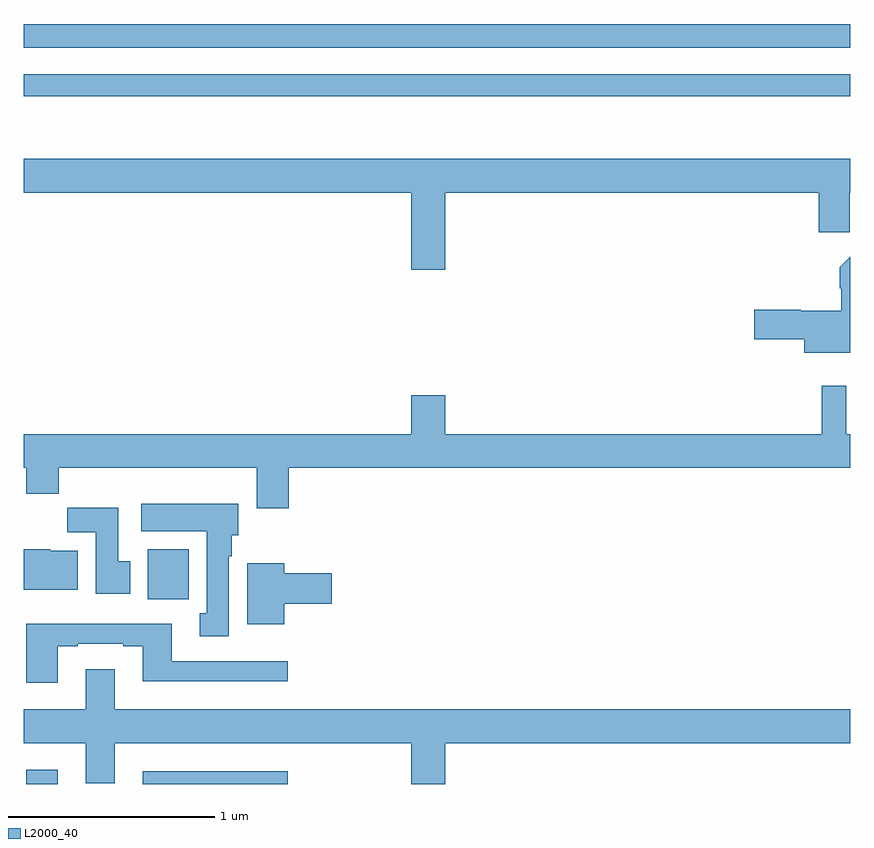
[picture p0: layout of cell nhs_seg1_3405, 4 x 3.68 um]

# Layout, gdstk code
import gdstk
lib = gdstk.Library(unit=1e-6, precision=1e-09)
def R(c, l, rs):  # rectangles x0, y0, x1, y1
    for r in rs: c.add(gdstk.rectangle(r[:2], r[2:], *l))
def P(c, l, *ps):  # polygons
    for p in ps: c.add(gdstk.Polygon(p, *l))
L2000_40 = (2000, 40)

nhs_seg1_3405 = lib.new_cell('nhs_seg1_3405')
R(nhs_seg1_3405, L2000_40, [(295.013,554.199,295.165,554.269), (295.577,554.199,296.278,554.26), (295.601,555.092,295.798,555.334), (295,557.526,299,557.634), (295,557.76,299,557.876)])
P(nhs_seg1_3405, L2000_40, [(297.04,557.06),(298.847,557.06),(298.847,556.869),(298.997,556.869),(298.997,557.06),(299,557.06),(299,557.224),(295,557.224),(295,557.06),(296.876,557.06),(296.876,556.686),(297.04,556.686)],
  [(299,556.75),(298.949,556.699),(298.949,556.598),(298.955,556.598),(298.955,556.488),(298.761,556.488),(298.761,556.493),(298.536,556.493),(298.536,556.351),(298.778,556.351),(298.778,556.286),(299,556.286)],
  [(296.282,555.728),(299,555.728),(299,555.892),(298.979,555.892),(298.979,556.126),(298.861,556.126),(298.861,555.892),(297.04,555.892),(297.04,556.081),(296.876,556.081),(296.876,555.892),(295,555.892),(295,555.728),(295.013,555.728),(295.013,555.604),(295.169,555.604),(295.169,555.728),(296.129,555.728),(296.129,555.534),(296.282,555.534)],
  [(295.993,555.302),(296.008,555.302),(296.008,555.402),(296.038,555.402),(296.038,555.556),(295.569,555.556),(295.569,555.422),(295.886,555.422),(295.886,555.026),(295.853,555.026),(295.853,554.913),(295.993,554.913)],
  [(295.516,555.276),(295.459,555.276),(295.459,555.535),(295.21,555.535),(295.21,555.416),(295.349,555.416),(295.349,555.12),(295.516,555.12)],
  [(295.261,555.328),(295.128,555.328),(295.128,555.334),(295,555.334),(295,555.14),(295.261,555.14)],
  [(296.26,555.071),(296.491,555.071),(296.491,555.218),(296.26,555.218),(296.26,555.268),(296.081,555.268),(296.081,554.972),(296.26,554.972)],
  [(295.165,554.865),(295.261,554.865),(295.261,554.877),(295.481,554.877),(295.481,554.865),(295.577,554.865),(295.577,554.696),(296.278,554.696),(296.278,554.793),(295.717,554.793),(295.717,554.974),(295.013,554.974),(295.013,554.688),(295.165,554.688)],
  [(297.04,554.396),(299,554.396),(299,554.56),(295.441,554.56),(295.441,554.755),(295.301,554.755),(295.301,554.56),(295,554.56),(295,554.396),(295.301,554.396),(295.301,554.202),(295.441,554.202),(295.441,554.396),(296.876,554.396),(296.876,554.199),(297.04,554.199)])

lib.write_gds('nhs_seg1_3405.gds')
